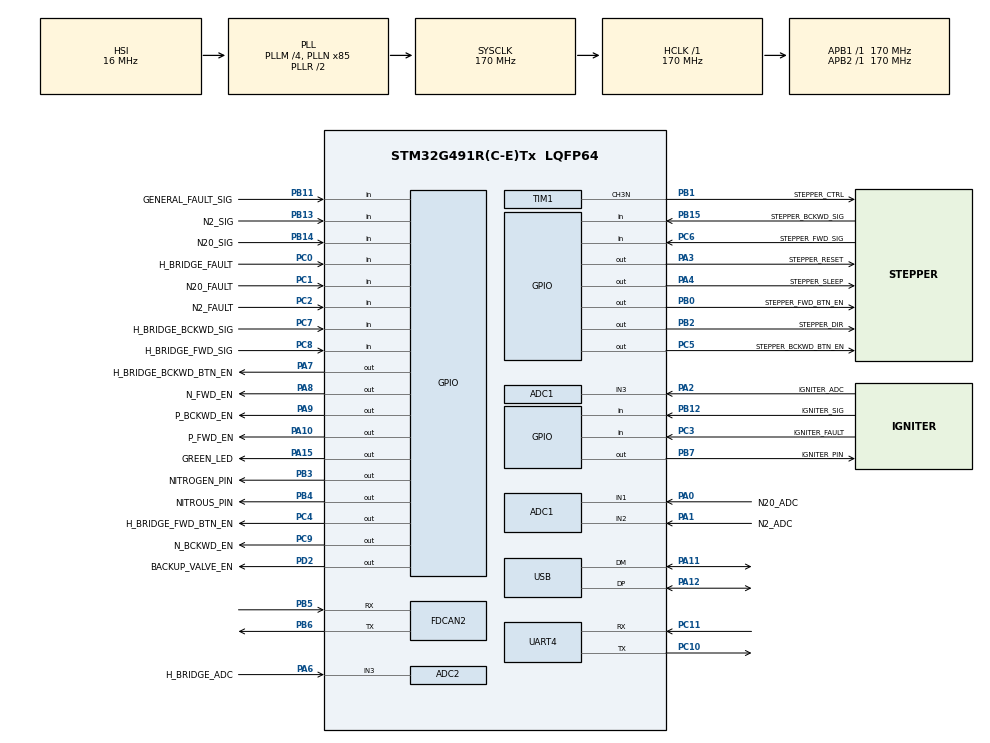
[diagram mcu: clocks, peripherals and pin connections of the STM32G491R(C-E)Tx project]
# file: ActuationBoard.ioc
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ADC1.Channel-1\#ChannelRegularConversion=ADC_CHANNEL_1
ADC1.Channel-2\#ChannelRegularConversion=ADC_CHANNEL_2
ADC1.Channel-3\#ChannelRegularConversion=ADC_CHANNEL_3
ADC1.ContinuousConvMode=DISABLE
ADC1.DMAContinuousRequests=DISABLE
ADC1.NbrOfConversion=3
ADC1.NbrOfConversionFlag=3
ADC1.OffsetNumber-1\#ChannelRegularConversion=ADC_OFFSET_NONE
ADC1.OffsetNumber-2\#ChannelRegularConversion=ADC_OFFSET_NONE
ADC1.OffsetNumber-3\#ChannelRegularConversion=ADC_OFFSET_NONE
ADC1.Overrun=ADC_OVR_DATA_OVERWRITTEN
ADC1.Rank-1\#ChannelRegularConversion=1
ADC1.Rank-2\#ChannelRegularConversion=2
ADC1.Rank-3\#ChannelRegularConversion=3
ADC1.SamplingTime-1\#ChannelRegularConversion=ADC_SAMPLETIME_2CYCLES_5
ADC1.SamplingTime-2\#ChannelRegularConversion=ADC_SAMPLETIME_2CYCLES_5
ADC1.SamplingTime-3\#ChannelRegularConversion=ADC_SAMPLETIME_2CYCLES_5
ADC1.ScanConvMode=ADC_SCAN_ENABLE
ADC1.master=1
ADC2.Channel-0\#ChannelRegularConversion=ADC_CHANNEL_3
ADC2.NbrOfConversionFlag=1
ADC2.OffsetNumber-0\#ChannelRegularConversion=ADC_OFFSET_NONE
ADC2.Rank-0\#ChannelRegularConversion=1
ADC2.SamplingTime-0\#ChannelRegularConversion=ADC_SAMPLETIME_2CYCLES_5
Dma.ADC1.0.Direction=DMA_PERIPH_TO_MEMORY
Dma.ADC1.0.EventEnable=DISABLE
Dma.ADC1.0.Instance=DMA1_Channel1
Dma.ADC1.0.MemDataAlignment=DMA_MDATAALIGN_HALFWORD
Dma.ADC1.0.MemInc=DMA_MINC_ENABLE
Dma.ADC1.0.Mode=DMA_NORMAL
Dma.ADC1.0.PeriphDataAlignment=DMA_PDATAALIGN_HALFWORD
Dma.ADC1.0.PeriphInc=DMA_PINC_DISABLE
Dma.ADC1.0.Polarity=HAL_DMAMUX_REQ_GEN_RISING
Dma.ADC1.0.Priority=DMA_PRIORITY_LOW
Dma.ADC1.0.RequestNumber=1
Dma.ADC1.0.SignalID=NONE
Dma.ADC1.0.SyncEnable=DISABLE
Dma.ADC1.0.SyncPolarity=HAL_DMAMUX_SYNC_NO_EVENT
Dma.ADC1.0.SyncRequestNumber=1
Dma.ADC1.0.SyncSignalID=NONE
Dma.Request0=ADC1
FDCAN2.CalculateBaudRateNominal=3541666
FDCAN2.CalculateTimeBitNominal=282
FDCAN2.CalculateTimeQuantumNominal=11.764705882352942
FDCAN2.FrameFormat=FDCAN_FRAME_FD_NO_BRS
FDCAN2.AutoRetransmission=ENABLE
FDCAN2.NominalPrescaler=2
FDCAN2.NominalTimeSeg1=19
FDCAN2.NominalTimeSeg2=4
FDCAN2.NominalSyncJumpWidth=4
Mcu.Family=STM32G4
Mcu.Name=STM32G491R(C-E)Tx
Mcu.Package=LQFP64
NVIC.DMA1_Channel1_IRQn=true\:6\:0\:true\:false\:true\:false\:true\:true\:true
NVIC.FDCAN2_IT0_IRQn=true\:6\:0\:true\:false\:true\:false\:true\:true\:true
NVIC.FDCAN2_IT1_IRQn=true\:6\:0\:true\:false\:true\:false\:true\:true\:true
NVIC.PriorityGroup=NVIC_PRIORITYGROUP_4
NVIC.TIM6_DAC_IRQn=true\:15\:0\:false\:false\:true\:false\:false\:true\:true
NVIC.TimeBase=TIM6_DAC_IRQn
NVIC.TimeBaseIP=TIM6
NVIC.USB_LP_IRQn=true\:5\:0\:true\:false\:true\:false\:true\:true\:true
PA0.GPIO_Label=N20_ADC
PA0.Mode=IN1-Single-Ended
PA0.Signal=ADC1_IN1
PA1.GPIO_Label=N2_ADC
PA1.Mode=IN2-Single-Ended
PA1.Signal=ADC1_IN2
PA10.GPIO_Label=P_FWD_EN
PA10.Signal=GPIO_Output
PA11.Mode=Device
PA11.Signal=USB_DM
PA12.Mode=Device
PA12.Signal=USB_DP
PA13.Mode=Serial_Wire
PA13.Signal=SYS_JTMS-SWDIO
PA14.Mode=Serial_Wire
PA14.Signal=SYS_JTCK-SWCLK
PA15.GPIO_Label=GREEN_LED
PA15.Signal=GPIO_Output
PA2.GPIO_Label=IGNITER_ADC
PA2.Mode=IN3-Single-Ended
PA2.Signal=ADC1_IN3
PA3.GPIO_Label=STEPPER_RESET
PA3.Signal=GPIO_Output
PA4.GPIO_Label=STEPPER_SLEEP
PA4.Signal=GPIO_Output
PA6.GPIO_Label=H_BRIDGE_ADC
PA6.Mode=IN3-Single-Ended
PA6.Signal=ADC2_IN3
PA7.GPIO_Label=H_BRIDGE_BCKWD_BTN_EN
PA7.Signal=GPIO_Output
PA8.GPIO_Label=N_FWD_EN
PA8.Signal=GPIO_Output
PA9.GPIO_Label=P_BCKWD_EN
PA9.Signal=GPIO_Output
PB0.GPIO_Label=STEPPER_FWD_BTN_EN
PB0.Signal=GPIO_Output
PB1.GPIO_Label=STEPPER_CTRL
PB1.GPIO_Speed=GPIO_SPEED_FREQ_HIGH
PB1.Signal=S_TIM1_CH3N
PB11.GPIO_Label=GENERAL_FAULT_SIG
PB11.Signal=GPIO_Input
PB12.GPIO_Label=IGNITER_SIG
PB12.Signal=GPIO_Input
PB13.GPIO_Label=N2_SIG
PB13.Signal=GPIO_Input
PB14.GPIO_Label=N20_SIG
PB14.Signal=GPIO_Input
PB15.GPIO_Label=STEPPER_BCKWD_SIG
PB15.Signal=GPIO_Input
PB2.GPIO_Label=STEPPER_DIR
PB2.Signal=GPIO_Output
PB3.GPIO_Label=NITROGEN_PIN
PB3.Signal=GPIO_Output
PB4.GPIO_Label=NITROUS_PIN
PB4.Signal=GPIO_Output
PB5.Mode=FDCAN_Activate
PB5.Signal=FDCAN2_RX
PB6.Mode=FDCAN_Activate
PB6.Signal=FDCAN2_TX
PB7.GPIO_Label=IGNITER_PIN
PB7.Signal=GPIO_Output
PC0.GPIO_Label=H_BRIDGE_FAULT
PC0.Signal=GPIO_Input
PC1.GPIO_Label=N20_FAULT
PC1.Signal=GPIO_Input
PC10.Mode=Asynchronous
PC10.Signal=UART4_TX
PC11.Mode=Asynchronous
PC11.Signal=UART4_RX
PC14-OSC32_IN.Mode=LSE-External-Oscillator
PC14-OSC32_IN.Signal=RCC_OSC32_IN
PC15-OSC32_OUT.Mode=LSE-External-Oscillator
PC15-OSC32_OUT.Signal=RCC_OSC32_OUT
PC2.GPIO_Label=N2_FAULT
PC2.Signal=GPIO_Input
PC3.GPIO_Label=IGNITER_FAULT
PC3.Signal=GPIO_Input
PC4.GPIO_Label=H_BRIDGE_FWD_BTN_EN
PC4.Signal=GPIO_Output
PC5.GPIO_Label=STEPPER_BCKWD_BTN_EN
PC5.Signal=GPIO_Output
PC6.GPIO_Label=STEPPER_FWD_SIG
PC6.Signal=GPIO_Input
PC7.GPIO_Label=H_BRIDGE_BCKWD_SIG
PC7.Signal=GPIO_Input
PC8.GPIO_Label=H_BRIDGE_FWD_SIG
PC8.Signal=GPIO_Input
PC9.GPIO_Label=N_BCKWD_EN
PC9.Signal=GPIO_Output
PD2.GPIO_Label=BACKUP_VALVE_EN
PD2.Signal=GPIO_Output
PF0-OSC_IN.Mode=HSE-External-Oscillator
PF0-OSC_IN.Signal=RCC_OSC_IN
PF1-OSC_OUT.Mode=HSE-External-Oscillator
PF1-OSC_OUT.Signal=RCC_OSC_OUT
ProjectManager.HeapSize=0x200
ProjectManager.StackSize=0x400
ProjectManager.TargetToolchain=CMake
RCC.ADC12Freq_Value=170000000
RCC.ADC345Freq_Value=170000000
RCC.AHBFreq_Value=170000000
RCC.APB1Freq_Value=170000000
RCC.APB1TimFreq_Value=170000000
RCC.APB2Freq_Value=170000000
RCC.APB2TimFreq_Value=170000000
RCC.CortexFreq_Value=170000000
RCC.EXTERNAL_CLOCK_VALUE=12288000
RCC.HCLKFreq_Value=170000000
RCC.HSE_VALUE=8000000
RCC.HSI48_VALUE=48000000
RCC.HSI_VALUE=16000000
RCC.PLLM=RCC_PLLM_DIV4
RCC.PLLN=85
RCC.SYSCLKFreq_VALUE=170000000
RCC.SYSCLKSource=RCC_SYSCLKSOURCE_PLLCLK
RCC.VCOOutputFreq_Value=340000000
STMicroelectronics.X-CUBE-AZRTOS-G4.2.0.0.REG_USBX_DEVICE_CON_CK=1
STMicroelectronics.X-CUBE-AZRTOS-G4.2.0.0.TX_APP_GENERATE_INIT_CODE=true
STMicroelectronics.X-CUBE-AZRTOS-G4.2.0.0.TX_APP_MEM_POOL_SIZE=69048
STMicroelectronics.X-CUBE-AZRTOS-G4.2.0.0.TX_TIMER_TICKS_PER_SECOND=1000
STMicroelectronics.X-CUBE-AZRTOS-G4.2.0.0.ThreadXCcRTOSJjThreadXJjCore=true
STMicroelectronics.X-CUBE-AZRTOS-G4.2.0.0.ThreadXCcRTOSJjThreadXJjLowOoPowerOosupport=true
STMicroelectronics.X-CUBE-AZRTOS-G4.2.0.0.ThreadXCcRTOSJjThreadXJjPerformanceInfo=true
STMicroelectronics.X-CUBE-AZRTOS-G4.2.0.0.ThreadXCcRTOSJjThreadXJjTraceXOosupport=true
STMicroelectronics.X-CUBE-AZRTOS-G4.2.0.0.USBD_CDCACM_EPINCMD_ADDR=1
STMicroelectronics.X-CUBE-AZRTOS-G4.2.0.0.USBD_MANUFACTURER_STRING=UBSEDS
STMicroelectronics.X-CUBE-AZRTOS-G4.2.0.0.USBD_PRODUCT_STRING=CHUD Actuator Board
STMicroelectronics.X-CUBE-AZRTOS-G4.2.0.0.USBD_SERIAL_NUMBER=67
STMicroelectronics.X-CUBE-AZRTOS-G4.2.0.0.USBXCcUSBJjUSBXJjCoreSystem=true
STMicroelectronics.X-CUBE-AZRTOS-G4.2.0.0.USBXCcUSBJjUSBXJjUXOoDeviceOoClassOoCDCOoACM=true
STMicroelectronics.X-CUBE-AZRTOS-G4.2.0.0.USBXCcUSBJjUSBXJjUXOoDeviceOoControllers=true
STMicroelectronics.X-CUBE-AZRTOS-G4.2.0.0.USBXCcUSBJjUSBXJjUXOoDeviceOoCoreStack=true
STMicroelectronics.X-CUBE-AZRTOS-G4.2.0.0.USBX_DEVICE_APP_THREAD_Size=5120
STMicroelectronics.X-CUBE-AZRTOS-G4.2.0.0.USBX_DEVICE_SYS_SIZE=5120
STMicroelectronics.X-CUBE-AZRTOS-G4.2.0.0.UX_DEVICE_APP_MEM_POOL_SIZE=15952
STMicroelectronics.X-CUBE-AZRTOS-G4.2.0.0.UX_SLAVE_REQUEST_DATA_MAX_LENGTH=512
STMicroelectronics.X-CUBE-AZRTOS-G4.2.0.0_IsAnAzureRtosMw=true
SH.S_TIM1_CH3N.0=TIM1_CH3N,PWM Generation3 CH3N
TIM1.Channel-PWM\ Generation3\ CH3N=TIM_CHANNEL_3
TIM1.Period=19
TIM1.Prescaler=169
TIM1.TriggerOutput=TIM_TRGO_RESET
TIM1.TriggerOutput2=TIM_TRGO2_RESET
VP_STMicroelectronics.X-CUBE-AZRTOS-G4_VS_RTOSJjThreadX_6.2.0_2.0.0.Mode=RTOSJjThreadX
VP_STMicroelectronics.X-CUBE-AZRTOS-G4_VS_USBJjUSBX_6.2.0_2.0.0.Mode=USBJjUSBX
VP_SYS_VS_DBSignals.Mode=DisableDeadBatterySignals
VP_SYS_VS_tim6.Mode=TIM6
board=custom

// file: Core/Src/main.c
#include "persistent_store.h"
/* USER CODE BEGIN Header */
/**
  ******************************************************************************
  * @file           : main.c
  * @brief          : Main program body
  ******************************************************************************
  * @attention
  *
  * Copyright (c) 2026 STMicroelectronics.
  * All rights reserved.
  *
  * This software is licensed under terms that can be found in the LICENSE file
  * in the root directory of this software component.
  * If no LICENSE file comes with this software, it is provided AS-IS.
  *
  ******************************************************************************
  */
/* USER CODE END Header */
#include "app_threadx.h"
#include "main.h"
#include "board_watchdog.h"
#include "board_abort_latch.h"

/* USER CODE BEGIN Includes */
#include "ux_api.h"
#include "ux_device_class_cdc_acm.h"
#include "stepper_driver.h"
#include "flight_state_cache.h"
#include "board_recovery_boot.h"
#include "board_bootstrap_storage.h"
#include <stdint.h>
#include <stdio.h>
extern UX_SLAVE_CLASS_CDC_ACM *cdc_acm;
/* USER CODE END Includes */

ADC_HandleTypeDef hadc1;
ADC_HandleTypeDef hadc2;
DMA_HandleTypeDef hdma_adc1;

FDCAN_HandleTypeDef hfdcan2;

TIM_HandleTypeDef htim1;

UART_HandleTypeDef huart4;

PCD_HandleTypeDef hpcd_USB_FS;

void SystemClock_Config(void);
static void MX_GPIO_Init(void);
static void MX_DMA_Init(void);
static void MX_ADC1_Init(void);
static void MX_ADC2_Init(void);
static void MX_UART4_Init(void);
static void MX_USB_PCD_Init(void);
static void MX_FDCAN2_Init(void);
static void MX_TIM1_Init(void);

int main(void)
{

  /* MCU Configuration--------------------------------------------------------*/

  /* Reset of all peripherals, Initializes the Flash interface and the Systick. */
  HAL_Init();

  /* Configure the system clock */
  SystemClock_Config();

  /* Initialize all configured peripherals */
  MX_GPIO_Init();
  MX_DMA_Init();
  MX_ADC1_Init();
  MX_ADC2_Init();
  MX_UART4_Init();
  MX_USB_PCD_Init();
  MX_FDCAN2_Init();
  MX_TIM1_Init();

  board_abort_latch_init();
  (void)persistent_store_boot_begin();
  /* Establish recovery identity before cached state restore and control tasks. */
  (void)board_recovery_boot_generation();
  board_bootstrap_storage_probe_boot();
  flight_state_cache_restore();
  board_watchdog_start();
  MX_ThreadX_Init();

  /* We should never get here as control is now taken by the scheduler */

  /* Infinite loop */
  while (1)
  {

  }
}

void SystemClock_Config(void)
{
  RCC_OscInitTypeDef RCC_OscInitStruct = {0};
  RCC_ClkInitTypeDef RCC_ClkInitStruct = {0};

  /** Configure the main internal regulator output voltage
  */
  HAL_PWREx_ControlVoltageScaling(PWR_REGULATOR_VOLTAGE_SCALE1_BOOST);

  /** Initializes the RCC Oscillators according to the specified parameters
  * in the RCC_OscInitTypeDef structure.
  */
  RCC_OscInitStruct.OscillatorType = RCC_OSCILLATORTYPE_HSI|RCC_OSCILLATORTYPE_HSI48;
  RCC_OscInitStruct.HSIState = RCC_HSI_ON;
  RCC_OscInitStruct.HSICalibrationValue = RCC_HSICALIBRATION_DEFAULT;
  RCC_OscInitStruct.HSI48State = RCC_HSI48_ON;
  RCC_OscInitStruct.PLL.PLLState = RCC_PLL_ON;
  RCC_OscInitStruct.PLL.PLLSource = RCC_PLLSOURCE_HSI;
  RCC_OscInitStruct.PLL.PLLM = RCC_PLLM_DIV4;
  RCC_OscInitStruct.PLL.PLLN = 85;
  RCC_OscInitStruct.PLL.PLLP = RCC_PLLP_DIV2;
  RCC_OscInitStruct.PLL.PLLQ = RCC_PLLQ_DIV2;
  RCC_OscInitStruct.PLL.PLLR = RCC_PLLR_DIV2;
  if (HAL_RCC_OscConfig(&RCC_OscInitStruct) != HAL_OK)
  {
    Error_Handler();
  }

  /** Initializes the CPU, AHB and APB buses clocks
  */
  RCC_ClkInitStruct.ClockType = RCC_CLOCKTYPE_HCLK|RCC_CLOCKTYPE_SYSCLK
                              |RCC_CLOCKTYPE_PCLK1|RCC_CLOCKTYPE_PCLK2;
  RCC_ClkInitStruct.SYSCLKSource = RCC_SYSCLKSOURCE_PLLCLK;
  RCC_ClkInitStruct.AHBCLKDivider = RCC_SYSCLK_DIV1;
  RCC_ClkInitStruct.APB1CLKDivider = RCC_HCLK_DIV1;
  RCC_ClkInitStruct.APB2CLKDivider = RCC_HCLK_DIV1;

  if (HAL_RCC_ClockConfig(&RCC_ClkInitStruct, FLASH_LATENCY_4) != HAL_OK)
  {
    Error_Handler();
  }
}

static void MX_ADC1_Init(void)
{

  ADC_MultiModeTypeDef multimode = {0};
  ADC_ChannelConfTypeDef sConfig = {0};

  /** Common config
  */
  hadc1.Instance = ADC1;
  hadc1.Init.ClockPrescaler = ADC_CLOCK_SYNC_PCLK_DIV4;
  hadc1.Init.Resolution = ADC_RESOLUTION_12B;
  hadc1.Init.DataAlign = ADC_DATAALIGN_RIGHT;
  hadc1.Init.GainCompensation = 0;
  hadc1.Init.ScanConvMode = ADC_SCAN_ENABLE;
  hadc1.Init.EOCSelection = ADC_EOC_SINGLE_CONV;
  hadc1.Init.LowPowerAutoWait = DISABLE;
  hadc1.Init.ContinuousConvMode = DISABLE;
  hadc1.Init.NbrOfConversion = 3;
  hadc1.Init.DiscontinuousConvMode = DISABLE;
  hadc1.Init.ExternalTrigConv = ADC_SOFTWARE_START;
  hadc1.Init.ExternalTrigConvEdge = ADC_EXTERNALTRIGCONVEDGE_NONE;
  hadc1.Init.DMAContinuousRequests = DISABLE;
  hadc1.Init.Overrun = ADC_OVR_DATA_OVERWRITTEN;
  hadc1.Init.OversamplingMode = DISABLE;
  if (HAL_ADC_Init(&hadc1) != HAL_OK)
  {
    Error_Handler();
  }

  /** Configure the ADC multi-mode
  */
  multimode.Mode = ADC_MODE_INDEPENDENT;
  if (HAL_ADCEx_MultiModeConfigChannel(&hadc1, &multimode) != HAL_OK)
  {
    Error_Handler();
  }

  /** Configure Regular Channel
  */
  sConfig.Channel = ADC_CHANNEL_1;
  sConfig.Rank = ADC_REGULAR_RANK_1;
  sConfig.SamplingTime = ADC_SAMPLETIME_2CYCLES_5;
  sConfig.SingleDiff = ADC_SINGLE_ENDED;
  sConfig.OffsetNumber = ADC_OFFSET_NONE;
  sConfig.Offset = 0;
  if (HAL_ADC_ConfigChannel(&hadc1, &sConfig) != HAL_OK)
  {
    Error_Handler();
  }

  /** Configure Regular Channel
  */
  sConfig.Channel = ADC_CHANNEL_2;
  sConfig.Rank = ADC_REGULAR_RANK_2;
  if (HAL_ADC_ConfigChannel(&hadc1, &sConfig) != HAL_OK)
  {
    Error_Handler();
  }

  /** Configure Regular Channel
  */
  sConfig.Channel = ADC_CHANNEL_3;
  sConfig.Rank = ADC_REGULAR_RANK_3;
  if (HAL_ADC_ConfigChannel(&hadc1, &sConfig) != HAL_OK)
  {
    Error_Handler();
  }

}

static void MX_ADC2_Init(void)
{

  ADC_ChannelConfTypeDef sConfig = {0};

  /** Common config
  */
  hadc2.Instance = ADC2;
  hadc2.Init.ClockPrescaler = ADC_CLOCK_SYNC_PCLK_DIV4;
  hadc2.Init.Resolution = ADC_RESOLUTION_12B;
  hadc2.Init.DataAlign = ADC_DATAALIGN_RIGHT;
  hadc2.Init.GainCompensation = 0;
  hadc2.Init.ScanConvMode = ADC_SCAN_DISABLE;
  hadc2.Init.EOCSelection = ADC_EOC_SINGLE_CONV;
  hadc2.Init.LowPowerAutoWait = DISABLE;
  hadc2.Init.ContinuousConvMode = DISABLE;
  hadc2.Init.NbrOfConversion = 1;
  hadc2.Init.DiscontinuousConvMode = DISABLE;
  hadc2.Init.ExternalTrigConv = ADC_SOFTWARE_START;
  hadc2.Init.ExternalTrigConvEdge = ADC_EXTERNALTRIGCONVEDGE_NONE;
  hadc2.Init.DMAContinuousRequests = DISABLE;
  hadc2.Init.Overrun = ADC_OVR_DATA_PRESERVED;
  hadc2.Init.OversamplingMode = DISABLE;
  if (HAL_ADC_Init(&hadc2) != HAL_OK)
  {
    Error_Handler();
  }

  /** Configure Regular Channel
  */
  sConfig.Channel = ADC_CHANNEL_3;
  sConfig.Rank = ADC_REGULAR_RANK_1;
  sConfig.SamplingTime = ADC_SAMPLETIME_2CYCLES_5;
  sConfig.SingleDiff = ADC_SINGLE_ENDED;
  sConfig.OffsetNumber = ADC_OFFSET_NONE;
  sConfig.Offset = 0;
  if (HAL_ADC_ConfigChannel(&hadc2, &sConfig) != HAL_OK)
  {
    Error_Handler();
  }

}

static void MX_FDCAN2_Init(void)
{

  hfdcan2.Instance = FDCAN2;
  hfdcan2.Init.ClockDivider = FDCAN_CLOCK_DIV1;
  hfdcan2.Init.FrameFormat = FDCAN_FRAME_FD_NO_BRS;
  hfdcan2.Init.Mode = FDCAN_MODE_NORMAL;
  /* FDCAN must retry arbitration and ACK failures for every physical
   * fragment. SEDSNet adds end-to-end reliability; the non-blocking TX path
   * and bus-off recovery keep a disconnected bus from blocking a thread. */
  hfdcan2.Init.AutoRetransmission = ENABLE;
  hfdcan2.Init.TransmitPause = DISABLE;
  hfdcan2.Init.ProtocolException = DISABLE;
  /* Preserve the 48-clock bit period while sampling at 83.3% instead
   * of 66.7%; use the same timing as the gateway for propagation margin. */
  hfdcan2.Init.NominalPrescaler = 2;
  hfdcan2.Init.NominalSyncJumpWidth = 4;
  hfdcan2.Init.NominalTimeSeg1 = 19;
  hfdcan2.Init.NominalTimeSeg2 = 4;
  hfdcan2.Init.DataPrescaler = 1;
  hfdcan2.Init.DataSyncJumpWidth = 1;
  hfdcan2.Init.DataTimeSeg1 = 1;
  hfdcan2.Init.DataTimeSeg2 = 1;
  hfdcan2.Init.StdFiltersNbr = 0;
  hfdcan2.Init.ExtFiltersNbr = 0;
  hfdcan2.Init.TxFifoQueueMode = FDCAN_TX_FIFO_OPERATION;
  if (HAL_FDCAN_Init(&hfdcan2) != HAL_OK)
  {
    Error_Handler();
  }

}

static void MX_TIM1_Init(void)
{

  TIM_MasterConfigTypeDef sMasterConfig = {0};
  TIM_OC_InitTypeDef sConfigOC = {0};
  TIM_BreakDeadTimeConfigTypeDef sBreakDeadTimeConfig = {0};

  htim1.Instance = TIM1;
  htim1.Init.Prescaler = 169;
  htim1.Init.CounterMode = TIM_COUNTERMODE_UP;
  htim1.Init.Period = 19;
  htim1.Init.ClockDivision = TIM_CLOCKDIVISION_DIV1;
  htim1.Init.RepetitionCounter = 0;
  htim1.Init.AutoReloadPreload = TIM_AUTORELOAD_PRELOAD_DISABLE;
  if (HAL_TIM_PWM_Init(&htim1) != HAL_OK)
  {
    Error_Handler();
  }
  sMasterConfig.MasterOutputTrigger = TIM_TRGO_RESET;
  sMasterConfig.MasterOutputTrigger2 = TIM_TRGO2_RESET;
  sMasterConfig.MasterSlaveMode = TIM_MASTERSLAVEMODE_DISABLE;
  if (HAL_TIMEx_MasterConfigSynchronization(&htim1, &sMasterConfig) != HAL_OK)
  {
    Error_Handler();
  }
  sConfigOC.OCMode = TIM_OCMODE_PWM1;
  sConfigOC.Pulse = 3;
  sConfigOC.OCPolarity = TIM_OCPOLARITY_HIGH;
  sConfigOC.OCNPolarity = TIM_OCNPOLARITY_HIGH;
  sConfigOC.OCFastMode = TIM_OCFAST_DISABLE;
  sConfigOC.OCIdleState = TIM_OCIDLESTATE_RESET;
  sConfigOC.OCNIdleState = TIM_OCNIDLESTATE_RESET;
  if (HAL_TIM_PWM_ConfigChannel(&htim1, &sConfigOC, TIM_CHANNEL_3) != HAL_OK)
  {
    Error_Handler();
  }
  sBreakDeadTimeConfig.OffStateRunMode = TIM_OSSR_DISABLE;
  sBreakDeadTimeConfig.OffStateIDLEMode = TIM_OSSI_DISABLE;
  sBreakDeadTimeConfig.LockLevel = TIM_LOCKLEVEL_OFF;
  sBreakDeadTimeConfig.DeadTime = 0;
  sBreakDeadTimeConfig.BreakState = TIM_BREAK_DISABLE;
  sBreakDeadTimeConfig.BreakPolarity = TIM_BREAKPOLARITY_HIGH;
  sBreakDeadTimeConfig.BreakFilter = 0;
  sBreakDeadTimeConfig.BreakAFMode = TIM_BREAK_AFMODE_INPUT;
  sBreakDeadTimeConfig.Break2State = TIM_BREAK2_DISABLE;
  sBreakDeadTimeConfig.Break2Polarity = TIM_BREAK2POLARITY_HIGH;
  sBreakDeadTimeConfig.Break2Filter = 0;
  sBreakDeadTimeConfig.Break2AFMode = TIM_BREAK2_AFMODE_INPUT;
  sBreakDeadTimeConfig.AutomaticOutput = TIM_AUTOMATICOUTPUT_DISABLE;
  if (HAL_TIMEx_ConfigBreakDeadTime(&htim1, &sBreakDeadTimeConfig) != HAL_OK)
  {
    Error_Handler();
  }

}

static void MX_UART4_Init(void)
{

  huart4.Instance = UART4;
  huart4.Init.BaudRate = 115200;
  huart4.Init.WordLength = UART_WORDLENGTH_8B;
  huart4.Init.StopBits = UART_STOPBITS_1;
  huart4.Init.Parity = UART_PARITY_NONE;
  huart4.Init.Mode = UART_MODE_TX_RX;
  huart4.Init.HwFlowCtl = UART_HWCONTROL_NONE;
  huart4.Init.OverSampling = UART_OVERSAMPLING_16;
  huart4.Init.OneBitSampling = UART_ONE_BIT_SAMPLE_DISABLE;
  huart4.Init.ClockPrescaler = UART_PRESCALER_DIV1;
  huart4.AdvancedInit.AdvFeatureInit = UART_ADVFEATURE_NO_INIT;
  if (HAL_UART_Init(&huart4) != HAL_OK)
  {
    Error_Handler();
  }
  if (HAL_UARTEx_SetTxFifoThreshold(&huart4, UART_TXFIFO_THRESHOLD_1_8) != HAL_OK)
  {
    Error_Handler();
  }
  if (HAL_UARTEx_SetRxFifoThreshold(&huart4, UART_RXFIFO_THRESHOLD_1_8) != HAL_OK)
  {
    Error_Handler();
  }
  if (HAL_UARTEx_DisableFifoMode(&huart4) != HAL_OK)
  {
    Error_Handler();
  }

}

static void MX_USB_PCD_Init(void)
{

  hpcd_USB_FS.Instance = USB;
  hpcd_USB_FS.Init.dev_endpoints = 8;
  hpcd_USB_FS.Init.speed = PCD_SPEED_FULL;
  hpcd_USB_FS.Init.phy_itface = PCD_PHY_EMBEDDED;
  hpcd_USB_FS.Init.Sof_enable = DISABLE;
  hpcd_USB_FS.Init.low_power_enable = DISABLE;
  hpcd_USB_FS.Init.lpm_enable = DISABLE;
  hpcd_USB_FS.Init.battery_charging_enable = DISABLE;
  if (HAL_PCD_Init(&hpcd_USB_FS) != HAL_OK)
  {
    Error_Handler();
  }

}

static void MX_DMA_Init(void)
{

  /* DMA controller clock enable */
  __HAL_RCC_DMAMUX1_CLK_ENABLE();
  __HAL_RCC_DMA1_CLK_ENABLE();

  /* DMA interrupt init */
  /* DMA1_Channel1_IRQn interrupt configuration */
  HAL_NVIC_SetPriority(DMA1_Channel1_IRQn, 6, 0);
  HAL_NVIC_EnableIRQ(DMA1_Channel1_IRQn);

}

static void MX_GPIO_Init(void)
{
  GPIO_InitTypeDef GPIO_InitStruct = {0};

  /* GPIO Ports Clock Enable */
  __HAL_RCC_GPIOC_CLK_ENABLE();
  __HAL_RCC_GPIOF_CLK_ENABLE();
  __HAL_RCC_GPIOA_CLK_ENABLE();
  __HAL_RCC_GPIOB_CLK_ENABLE();
  __HAL_RCC_GPIOD_CLK_ENABLE();

  /*Configure GPIO pin Output Level */
  HAL_GPIO_WritePin(GPIOA, STEPPER_RESET_Pin|STEPPER_SLEEP_Pin|H_BRIDGE_BCKWD_BTN_EN_Pin|N_FWD_EN_Pin
                          |P_BCKWD_EN_Pin|P_FWD_EN_Pin|GREEN_LED_Pin, GPIO_PIN_RESET);

  /*Configure GPIO pin Output Level */
  HAL_GPIO_WritePin(GPIOC, H_BRIDGE_FWD_BTN_EN_Pin|STEPPER_BCKWD_BTN_EN_Pin|N_BCKWD_EN_Pin, GPIO_PIN_RESET);

  /*Configure GPIO pin Output Level */
  HAL_GPIO_WritePin(GPIOB, STEPPER_FWD_BTN_EN_Pin|STEPPER_CTRL_Pin|STEPPER_DIR_Pin|NITROGEN_PIN_Pin
                          |NITROUS_PIN_Pin|IGNITER_PIN_Pin, GPIO_PIN_RESET);

  /*Configure GPIO pin Output Level */
  HAL_GPIO_WritePin(BACKUP_VALVE_EN_GPIO_Port, BACKUP_VALVE_EN_Pin, GPIO_PIN_RESET);

  /*Configure GPIO pins : H_BRIDGE_FAULT_Pin N20_FAULT_Pin N2_FAULT_Pin IGNITER_FAULT_Pin
                           STEPPER_FWD_SIG_Pin H_BRIDGE_BCKWD_SIG_Pin H_BRIDGE_FWD_SIG_Pin */
  GPIO_InitStruct.Pin = H_BRIDGE_FAULT_Pin|N20_FAULT_Pin|N2_FAULT_Pin|IGNITER_FAULT_Pin
                          |STEPPER_FWD_SIG_Pin|H_BRIDGE_BCKWD_SIG_Pin|H_BRIDGE_FWD_SIG_Pin;
  GPIO_InitStruct.Mode = GPIO_MODE_INPUT;
  GPIO_InitStruct.Pull = GPIO_NOPULL;
  HAL_GPIO_Init(GPIOC, &GPIO_InitStruct);

  /*Configure GPIO pins : STEPPER_RESET_Pin STEPPER_SLEEP_Pin H_BRIDGE_BCKWD_BTN_EN_Pin N_FWD_EN_Pin
                           P_BCKWD_EN_Pin P_FWD_EN_Pin GREEN_LED_Pin */
  GPIO_InitStruct.Pin = STEPPER_RESET_Pin|STEPPER_SLEEP_Pin|H_BRIDGE_BCKWD_BTN_EN_Pin|N_FWD_EN_Pin
                          |P_BCKWD_EN_Pin|P_FWD_EN_Pin|GREEN_LED_Pin;
  GPIO_InitStruct.Mode = GPIO_MODE_OUTPUT_PP;
  GPIO_InitStruct.Pull = GPIO_NOPULL;
  GPIO_InitStruct.Speed = GPIO_SPEED_FREQ_LOW;
  HAL_GPIO_Init(GPIOA, &GPIO_InitStruct);

  /*Configure GPIO pins : H_BRIDGE_FWD_BTN_EN_Pin STEPPER_BCKWD_BTN_EN_Pin N_BCKWD_EN_Pin */
  GPIO_InitStruct.Pin = H_BRIDGE_FWD_BTN_EN_Pin|STEPPER_BCKWD_BTN_EN_Pin|N_BCKWD_EN_Pin;
  GPIO_InitStruct.Mode = GPIO_MODE_OUTPUT_PP;
  GPIO_InitStruct.Pull = GPIO_NOPULL;
  GPIO_InitStruct.Speed = GPIO_SPEED_FREQ_LOW;
  HAL_GPIO_Init(GPIOC, &GPIO_InitStruct);

  /*Configure GPIO pins : STEPPER_FWD_BTN_EN_Pin STEPPER_CTRL_Pin STEPPER_DIR_Pin NITROGEN_PIN_Pin
                           NITROUS_PIN_Pin IGNITER_PIN_Pin */
  GPIO_InitStruct.Pin = STEPPER_FWD_BTN_EN_Pin|STEPPER_CTRL_Pin|STEPPER_DIR_Pin|NITROGEN_PIN_Pin
                          |NITROUS_PIN_Pin|IGNITER_PIN_Pin;
  GPIO_InitStruct.Mode = GPIO_MODE_OUTPUT_PP;
  GPIO_InitStruct.Pull = GPIO_NOPULL;
  GPIO_InitStruct.Speed = GPIO_SPEED_FREQ_LOW;
  HAL_GPIO_Init(GPIOB, &GPIO_InitStruct);

  /*Configure GPIO pins : GENERAL_FAULT_SIG_Pin IGNITER_SIG_Pin N2_SIG_Pin N20_SIG_Pin
                           STEPPER_BCKWD_SIG_Pin */
  GPIO_InitStruct.Pin = GENERAL_FAULT_SIG_Pin|IGNITER_SIG_Pin|N2_SIG_Pin|N20_SIG_Pin
                          |STEPPER_BCKWD_SIG_Pin;
  GPIO_InitStruct.Mode = GPIO_MODE_INPUT;
  GPIO_InitStruct.Pull = GPIO_NOPULL;
  HAL_GPIO_Init(GPIOB, &GPIO_InitStruct);

  /*Configure GPIO pin : BACKUP_VALVE_EN_Pin */
  GPIO_InitStruct.Pin = BACKUP_VALVE_EN_Pin;
  GPIO_InitStruct.Mode = GPIO_MODE_OUTPUT_PP;
  GPIO_InitStruct.Pull = GPIO_NOPULL;
  GPIO_InitStruct.Speed = GPIO_SPEED_FREQ_LOW;
  HAL_GPIO_Init(BACKUP_VALVE_EN_GPIO_Port, &GPIO_InitStruct);

  /* USER CODE BEGIN MX_GPIO_Init_2 */
  GPIO_InitStruct.Pin = STEPPER_CTRL_Pin;
  GPIO_InitStruct.Mode = GPIO_MODE_OUTPUT_PP;
  GPIO_InitStruct.Pull = GPIO_NOPULL;
  GPIO_InitStruct.Speed = GPIO_SPEED_FREQ_HIGH;
  HAL_GPIO_Init(STEPPER_CTRL_GPIO_Port, &GPIO_InitStruct);

  /* USER CODE END MX_GPIO_Init_2 */
}

/* USER CODE BEGIN 4 */

static inline int cdc_in_isr(void)
{
  return (__get_IPSR() != 0U);
}

/* ------------ Mutex for multi-thread serialization ------------ */

static TX_MUTEX cdc_mutex;

/*
 * NOTE:
 * Call this from a ThreadX thread AFTER USBX device init (MX_USBX_Device_Init)
 * has run. It's OK to call multiple times if you guard creation elsewhere,
 * but simplest is call once from your "app" thread entry.
 */
void cdc_printf_init(void)
{
  (void)tx_mutex_create(&cdc_mutex, "cdc_tx_mutex", TX_INHERIT);
}

extern volatile ULONG _tx_thread_system_state;

static inline int tx_is_running(void)
{
  return (__get_IPSR() == 0U) && (_tx_thread_system_state == 0U);
}

static void cdc_lock(void)
{
  if (!tx_is_running() || cdc_in_isr()) return;
  (void)tx_mutex_get(&cdc_mutex, TX_WAIT_FOREVER);
}

static void cdc_unlock(void)
{
  if (!tx_is_running() || cdc_in_isr()) return;
  (void)tx_mutex_put(&cdc_mutex);
}

/* ------------ USB ready helper ------------ */

static inline UINT usb_cdc_ready(void)
{
  return (cdc_acm != UX_NULL);
}

/* ------------ Bounded, drop-on-trouble CDC write ------------ */

static void cdc_write_raw(const uint8_t *buf, uint16_t len)
{
  if (!buf || !len || cdc_in_isr()) return;
  if (!usb_cdc_ready()) return;

  cdc_lock();

  /* Keep it simple: one synchronous write. If host isn't ready, drop. */
  ULONG actual = 0;
  UINT st = ux_device_class_cdc_acm_write(cdc_acm, (UCHAR *)buf, (ULONG)len, &actual);
  if (st != UX_SUCCESS || actual == 0)
  {
    /* Host not ready or write failed — drop the data instead of hard-failing.
       This avoids entering Error_Handler when USB is connected but the
       host-side serial port isn't opened. */
    cdc_unlock();
    return;
  }
  (void)actual;

  cdc_unlock();
}

/* ---------- printf redirection ---------- */

#ifdef __GNUC__
int _write(int file, char *ptr, int len)
{
  (void)file;
  if (len <= 0) return 0;

  /* If USB not configured, pretend we consumed everything (best-effort debug) */
  if (!usb_cdc_ready()) return len;

  uint8_t buf[128];
  int i = 0;
  static uint8_t last_was_cr = 0;

  while (i < len)
  {
    uint16_t w = 0;

    while (i < len && w < sizeof(buf))
    {
      uint8_t c = (uint8_t)ptr[i++];

      if (c == '\n')
      {
        if (!last_was_cr)
        {
          if (w > (uint16_t)(sizeof(buf) - 2))
          {
            i--;
            break;
          }
          buf[w++] = '\r';
        }

        if (w >= sizeof(buf))
        {
          i--;
          break;
        }
        buf[w++] = '\n';
        last_was_cr = 0;
      }
      else
      {
        if (w >= sizeof(buf))
        {
          i--;
          break;
        }
        buf[w++] = c;
        last_was_cr = (c == '\r');
      }
    }

    if (w > 0)
    {
      cdc_write_raw(buf, w);
    }
  }

  return len;
}
#else
int fputc(int ch, FILE *f)
{
  (void)f;

  static uint8_t last_was_cr = 0;
  uint8_t buf[2];
  uint16_t w = 0;

  if (!usb_cdc_ready()) return ch;

  if (ch == '\n')
  {
    if (!last_was_cr) buf[w++] = '\r';
    buf[w++] = '\n';
    last_was_cr = 0;
  }
  else
  {
    buf[w++] = (uint8_t)ch;
    last_was_cr = (ch == '\r');
  }

  if (w > 0) cdc_write_raw(buf, w);
  return ch;
}
#endif

/* USER CODE END 4 */

void HAL_TIM_PeriodElapsedCallback(TIM_HandleTypeDef *htim)
{
  /* USER CODE BEGIN Callback 0 */
  stepperTimerPeriodElapsedCallback(htim);

  /* USER CODE END Callback 0 */
  if (htim->Instance == TIM6)
  {
    HAL_IncTick();
  }
}

void Error_Handler(void)
{
  __disable_irq();
  while (1)
  {
  }
}
